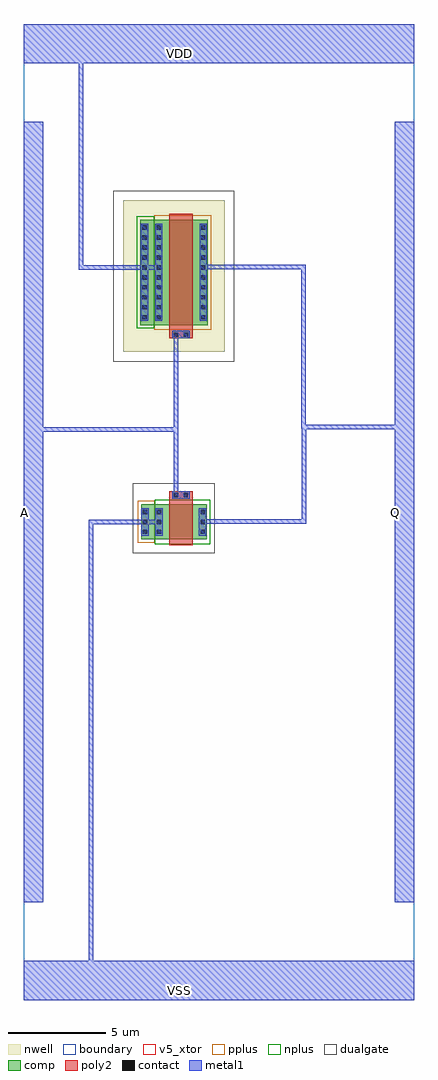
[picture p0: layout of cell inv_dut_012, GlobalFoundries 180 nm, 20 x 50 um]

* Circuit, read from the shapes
.subckt inv_dut_012 A Q VDD VSS
XM1 Q A VSS VSS nfet_05v0 w=1.8u l=1.2u
XM2 Q A VDD VDD pfet_05v0 w=5.4u l=1.2u
.ends

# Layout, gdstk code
from math import pi, radians
import gdstk
lib = gdstk.Library(unit=1e-6, precision=1e-09)
def R(c, l, rs):  # rectangles x0, y0, x1, y1
    for r in rs: c.add(gdstk.rectangle(r[:2], r[2:], *l))
def A(c, l, x, y, w, h, nx, ny, dx, dy):  # array of equal rectangles
    R(c, l, [(x+i*dx, y+j*dy, x+i*dx+w, y+j*dy+h) for i in range(nx) for j in range(ny)])
boundary = (0, 0)
nwell = (21, 0)
comp = (22, 0)
poly2 = (30, 0)
pplus = (31, 0)
nplus = (32, 0)
contact = (33, 0)
metal1 = (34, 0)
dualgate = (55, 0)
v5_xtor = (112, 1)

pfet = lib.new_cell('pfet')
R(pfet, nwell, [(-1.32,-0.99,3.87,6.77)])
R(pfet, comp, [(-0.46,0,3.01,5.4)])
R(pfet, poly2, [(0.31,-0.3,1.51,6.08)])
R(pfet, pplus, [(-0.63,-0.24,2.28,5.64)])
R(pfet, nplus, [(2.28,-0.17,3.18,5.57)])
A(pfet, contact, -0.34, 0.295, 0.22, 0.22, 1, 10, 0, 0.51)
A(pfet, contact, 1.94, 0.295, 0.22, 0.22, 1, 10, 0, 0.51)
A(pfet, contact, 2.67, 0.295, 0.22, 0.22, 1, 10, 0, 0.51)
R(pfet, contact, [(0.545,5.78,0.765,6), (1.055,5.78,1.275,6)])
R(pfet, metal1, [(-0.42,0.215,-0.04,5.185), (1.86,0.215,2.24,5.185), (2.59,0.215,2.97,5.185), (0.465,5.7,1.355,6.08)])
R(pfet, dualgate, [(-1.82,-1.49,4.37,7.27)])
R(pfet, v5_xtor, [(-1.82,-1.49,4.37,7.27)])

nfet = lib.new_cell('nfet')
R(nfet, comp, [(-0.42,0,2.95,1.8)])
R(nfet, poly2, [(0.31,-0.3,1.51,2.46)])
R(nfet, pplus, [(2.24,-0.17,3.12,1.97)])
R(nfet, nplus, [(-0.59,-0.24,2.24,2.04)])
A(nfet, contact, -0.32, 0.28, 0.22, 0.22, 1, 3, 0, 0.51)
A(nfet, contact, 1.92, 0.28, 0.22, 0.22, 1, 3, 0, 0.51)
A(nfet, contact, 2.63, 0.28, 0.22, 0.22, 1, 3, 0, 0.51)
R(nfet, contact, [(0.545,2.17,0.765,2.39), (1.055,2.17,1.275,2.39)])
R(nfet, metal1, [(-0.4,0.2,-0.02,1.6), (1.84,0.2,2.22,1.6), (2.55,0.2,2.93,1.6), (0.465,2.09,1.355,2.47)])
R(nfet, dualgate, [(-0.84,-0.71,3.37,2.88)])
R(nfet, v5_xtor, [(-0.84,-0.71,3.37,2.88)])

inv_dut_012 = lib.new_cell('inv_dut_012')
R(inv_dut_012, boundary, [(-10,-25,10,25)])
R(inv_dut_012, metal1, [(-10,-25,10,-23), (-10,-20,-9,20), (9,-20,10,20), (-10,23,10,25)])
inv_dut_012.add(gdstk.FlexPath([(4.36,4.36),(4.36,-0.49),(-0.95,-0.49)], 0.23, ends="flush", simple_path=True, layer=34, datatype=0))  # metal1
inv_dut_012.add(gdstk.FlexPath([(-7.08,23.525),(-7.08,12.525),(-2.99,12.525)], 0.23, ends="flush", simple_path=True, layer=34, datatype=0))  # metal1
inv_dut_012.add(gdstk.FlexPath([(-9.48,4.225),(-2.2,4.225),(-2.2,9.185)], 0.23, ends="flush", simple_path=True, layer=34, datatype=0))  # metal1
inv_dut_012.add(gdstk.FlexPath([(-2.2,4.235),(-2.2,0.805)], 0.23, ends="flush", simple_path=True, layer=34, datatype=0))  # metal1
inv_dut_012.add(gdstk.FlexPath([(-6.56,-23.795),(-6.56,-0.52),(-2.975,-0.52)], 0.23, ends="flush", simple_path=True, layer=34, datatype=0))  # metal1
inv_dut_012.add(gdstk.FlexPath([(-0.815,12.54),(4.32,12.54),(4.32,4.3)], 0.23, ends="flush", simple_path=True, layer=34, datatype=0))  # metal1
inv_dut_012.add(gdstk.FlexPath([(4.32,4.36),(9.355,4.36)], 0.23, ends="flush", simple_path=True, layer=34, datatype=0))  # metal1
inv_dut_012.add(gdstk.Reference(pfet, (-1.035,14.975), rotation=pi))
inv_dut_012.add(gdstk.Reference(nfet, (-1.045,-1.405), rotation=pi, x_reflection=True))
inv_dut_012.add(gdstk.Label('VDD', (-2,23.5), layer=34, texttype=10))
inv_dut_012.add(gdstk.Label('VSS', (-2,-24.5), layer=34, texttype=10))
inv_dut_012.add(gdstk.Label('A', (-9.97,0), layer=34, texttype=10))
inv_dut_012.add(gdstk.Label('Q', (9.03,0), layer=34, texttype=10))

lib.write_gds('inv_dut_012.gds')
